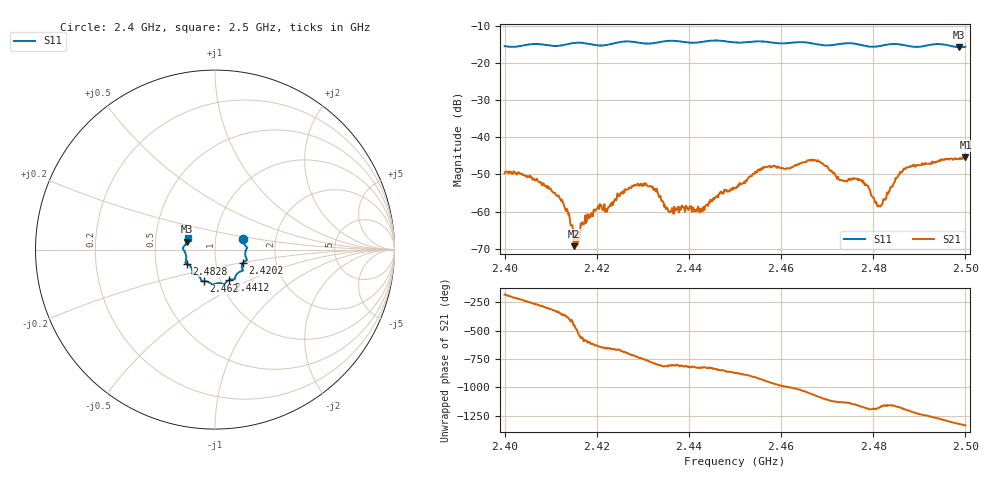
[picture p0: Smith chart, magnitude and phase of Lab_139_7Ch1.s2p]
# Hz S RI R 50
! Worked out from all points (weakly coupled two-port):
!   601 points, 2.4 GHz to 2.5 GHz, reference 50 ohm
!   highest |S21| = -45.39 dB at 2.5 GHz (marker M1); lowest = -69.3 dB at 2.415 GHz (marker M2)
!   lowest |S11| = -15.8 dB at 2.4987 GHz (marker M3), VSWR 1.39, Z = 36.3 + j3.26 ohm
!   |S11| at or under -10 dB: start of sweep to end of sweep
!   S12 and S22 are empty: the file has one direction only
!   S11 on the Smith chart (normalised r, x): 2.4 GHz: 1.36, +0.17; 2.4202 GHz: 1.35, -0.20; 2.4412 GHz: 1.09, -0.39; 2.462 GHz: 0.83, -0.30; 2.4828 GHz: 0.72, -0.12; 2.5 GHz: 0.73, +0.09
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2.4e9  0.1573 0.0606  -0.00328 -1.21e-05  0 0  0 0
2.409833e9  0.1711 -0.00571  0.00117 0.00164  0 0  0 0
2.413e9  0.1709 -0.0406  0.00114 -0.000139  0 0  0 0
2.415e9  0.1771 -0.0552  -2.85e-05 -0.000341  0 0  0 0
2.415833e9  0.1784 -0.0578  -0.000303 -0.000182  0 0  0 0
2.416667e9  0.1777 -0.0593  -0.000607 0.000246  0 0  0 0
2.420167e9  0.1568 -0.0723  8.74e-05 0.00111  0 0  0 0
2.4285e9  0.1483 -0.1191  0.00222 -0.000261  0 0  0 0
2.433333e9  0.1129 -0.152  0.000323 -0.00171  0 0  0 0
2.435667e9  0.1103 -0.1652  -7.15e-06 -0.000983  0 0  0 0
2.441167e9  0.0756 -0.1715  -0.000138 -0.000991  0 0  0 0
2.45e9  0.0272 -0.1868  -0.00181 -0.00104  0 0  0 0
2.456333e9  -0.0159 -0.1937  -0.00314 0.00232  0 0  0 0
2.462e9  -0.0612 -0.1761  0.000692 0.00375  0 0  0 0
2.466667e9  -0.0774 -0.1673  0.00469 0.00179  0 0  0 0
2.477333e9  -0.126 -0.1208  4.38e-05 -0.00268  0 0  0 0
2.481333e9  -0.1465 -0.0839  -0.000184 -0.00118  0 0  0 0
2.482833e9  -0.1579 -0.0778  0.000398 -0.0015  0 0  0 0
2.483333e9  -0.1606 -0.0764  0.000369 -0.00182  0 0  0 0
2.487167e9  -0.1613 -0.058  -0.0017 -0.00353  0 0  0 0
2.498667e9  -0.1568 0.0437  -0.00245 0.00463  0 0  0 0
2.5e9  -0.1531 0.0619  -0.00132 0.00521  0 0  0 0
